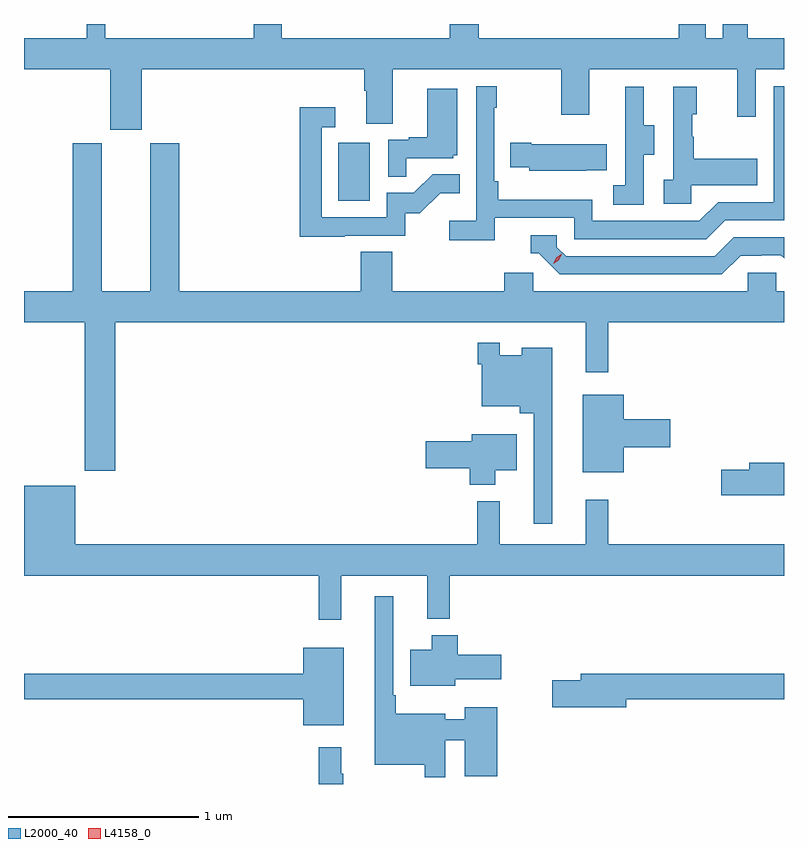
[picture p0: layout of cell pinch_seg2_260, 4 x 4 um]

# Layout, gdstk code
import gdstk
lib = gdstk.Library(unit=1e-6, precision=1e-09)
def R(c, l, rs):  # rectangles x0, y0, x1, y1
    for r in rs: c.add(gdstk.rectangle(r[:2], r[2:], *l))
def P(c, l, *ps):  # polygons
    for p in ps: c.add(gdstk.Polygon(p, *l))
L2000_40 = (2000, 40)
L4158_0 = (4158, 0)

pinch_seg2_260 = lib.new_cell('pinch_seg2_260')
R(pinch_seg2_260, L2000_40, [(912.128,664.26,912.292,664.567)])
P(pinch_seg2_260, L2000_40, [(911.092,664.952),(912.263,664.952),(912.263,664.84),(912.275,664.84),(912.275,664.666),(912.415,664.666),(912.415,664.952),(913.3,664.952),(913.3,664.713),(913.447,664.713),(913.447,664.952),(914.228,664.952),(914.228,664.704),(914.325,664.704),(914.325,664.952),(914.473,664.952),(914.473,665.116),(914.281,665.116),(914.281,665.191),(914.15,665.191),(914.15,665.116),(914.062,665.116),(914.062,665.191),(913.919,665.191),(913.919,665.116),(912.866,665.116),(912.866,665.191),(912.713,665.191),(912.713,665.116),(911.829,665.116),(911.829,665.191),(911.681,665.191),(911.681,665.116),(910.901,665.116),(910.901,665.191),(910.803,665.191),(910.803,665.116),(910.473,665.116),(910.473,664.952),(910.928,664.952),(910.928,664.635),(911.092,664.635)],
  [(912.95,664.17),(913.368,664.17),(913.368,664.059),(914.065,664.059),(914.164,664.158),(914.473,664.158),(914.473,664.863),(914.418,664.863),(914.418,664.254),(914.127,664.254),(914.028,664.155),(913.464,664.155),(913.464,664.267),(912.968,664.267),(912.968,664.363),(912.948,664.363),(912.948,664.751),(912.961,664.751),(912.961,664.864),(912.852,664.864),(912.852,664.156),(912.711,664.156),(912.711,664.054),(912.95,664.054)],
  [(913.986,664.343),(914.333,664.343),(914.333,664.483),(913.999,664.483),(913.999,664.598),(913.989,664.598),(913.989,664.716),(914.014,664.716),(914.014,664.861),(913.89,664.861),(913.89,664.37),(913.839,664.37),(913.839,664.245),(913.986,664.245)],
  [(913.734,664.504),(913.789,664.504),(913.789,664.659),(913.735,664.659),(913.735,664.861),(913.637,664.861),(913.637,664.647),(913.638,664.647),(913.638,664.343),(913.575,664.343),(913.575,664.24),(913.734,664.24)],
  [(912.485,664.485),(912.732,664.485),(912.732,664.5),(912.754,664.5),(912.754,664.849),(912.596,664.849),(912.596,664.594),(912.497,664.594),(912.497,664.581),(912.39,664.581),(912.39,664.387),(912.485,664.387)],
  [(912.161,664.077),(912.48,664.077),(912.48,664.194),(912.556,664.194),(912.663,664.301),(912.767,664.301),(912.767,664.4),(912.623,664.4),(912.525,664.302),(912.381,664.302),(912.381,664.173),(912.039,664.173),(912.039,664.647),(912.112,664.647),(912.112,664.753),(911.923,664.753),(911.923,664.072),(912.161,664.072)],
  [(913.433,664.421),(913.541,664.421),(913.541,664.558),(913.144,664.558),(913.144,664.566),(913.033,664.566),(913.033,664.436),(913.131,664.436),(913.131,664.418),(913.433,664.418)],
  [(910.792,662.841),(910.952,662.841),(910.952,663.62),(913.43,663.62),(913.43,663.357),(913.547,663.357),(913.547,663.62),(914.473,663.62),(914.473,663.784),(914.433,663.784),(914.433,663.882),(914.283,663.882),(914.283,663.784),(913.152,663.784),(913.152,663.882),(913.001,663.882),(913.001,663.784),(912.41,663.784),(912.41,663.992),(912.245,663.992),(912.245,663.784),(911.291,663.784),(911.291,664.563),(911.138,664.563),(911.138,663.784),(910.882,663.784),(910.882,664.563),(910.73,664.563),(910.73,663.784),(910.473,663.784),(910.473,663.62),(910.792,663.62)],
  [(914.245,663.972),(914.352,663.972),(914.352,663.975),(914.455,663.975),(914.473,663.957),(914.473,664.068),(914.208,664.068),(914.109,663.969),(913.326,663.969),(913.278,664.017),(913.278,664.08),(913.139,664.08),(913.139,663.984),(913.182,663.984),(913.293,663.873),(914.146,663.873)],
  [(913.252,663.487),(913.094,663.487),(913.094,663.448),(912.978,663.448),(912.978,663.514),(912.862,663.514),(912.862,663.401),(912.882,663.401),(912.882,663.179),(913.082,663.179),(913.082,663.143),(913.155,663.143),(913.155,662.562),(913.252,662.562)],
  [(913.63,662.963),(913.873,662.963),(913.873,663.11),(913.63,663.11),(913.63,663.241),(913.415,663.241),(913.415,662.831),(913.63,662.831)],
  [(912.952,662.843),(913.066,662.843),(913.066,663.031),(912.83,663.031),(912.83,662.996),(912.588,662.996),(912.588,662.854),(912.818,662.854),(912.818,662.765),(912.952,662.765)],
  [(914.473,662.882),(914.291,662.882),(914.291,662.846),(914.142,662.846),(914.142,662.711),(914.473,662.711)],
  [(910.744,662.761),(910.473,662.761),(910.473,662.288),(912.025,662.288),(912.025,662.055),(912.143,662.055),(912.143,662.288),(912.596,662.288),(912.596,662.06),(912.713,662.06),(912.713,662.288),(914.473,662.288),(914.473,662.452),(913.547,662.452),(913.547,662.686),(913.43,662.686),(913.43,662.452),(912.977,662.452),(912.977,662.68),(912.859,662.68),(912.859,662.452),(910.744,662.452)],
  [(912.69,661.422),(912.794,661.422),(912.794,661.233),(912.965,661.233),(912.965,661.594),(912.794,661.594),(912.794,661.531),(912.691,661.531),(912.691,661.561),(912.43,661.561),(912.43,661.657),(912.417,661.657),(912.417,662.179),(912.32,662.179),(912.32,661.292),(912.582,661.292),(912.582,661.227),(912.69,661.227)],
  [(912.742,661.742),(912.985,661.742),(912.985,661.872),(912.755,661.872),(912.755,661.975),(912.62,661.975),(912.62,661.897),(912.506,661.897),(912.506,661.709),(912.742,661.709)],
  [(912.157,661.909),(911.942,661.909),(911.942,661.772),(910.473,661.772),(910.473,661.636),(911.942,661.636),(911.942,661.499),(912.157,661.499)],
  [(913.642,661.636),(914.473,661.636),(914.473,661.772),(913.403,661.772),(913.403,661.736),(913.254,661.736),(913.254,661.594),(913.642,661.594)],
  [(912.154,661.244),(912.142,661.244),(912.142,661.384),(912.025,661.384),(912.025,661.191),(912.154,661.191)])
P(pinch_seg2_260, L4158_0, [(913.258,663.928),(913.258,663.929),(913.273,663.961),(913.304,663.981),(913.304,663.981),(913.304,663.981),(913.288,663.948),(913.258,663.928)])

lib.write_gds('pinch_seg2_260.gds')
